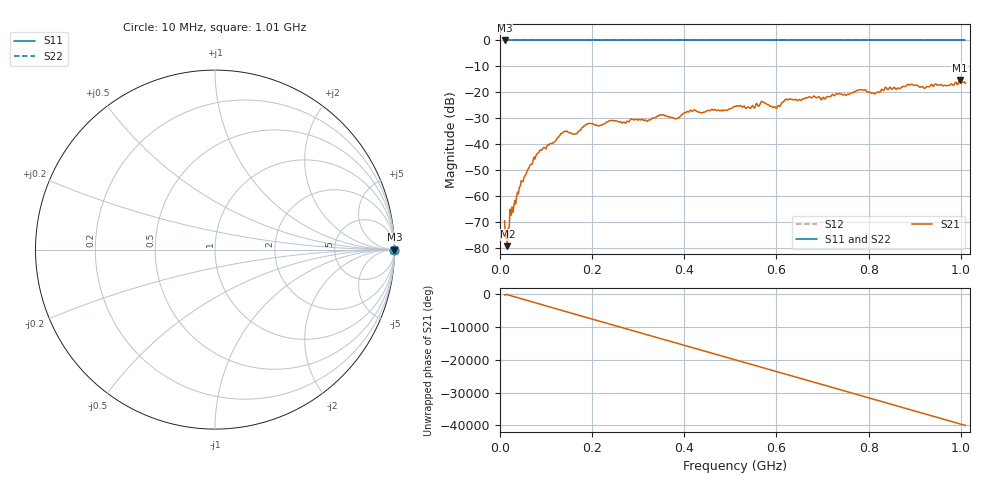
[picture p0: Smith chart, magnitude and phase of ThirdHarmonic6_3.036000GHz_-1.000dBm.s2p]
! 8/17/2025 8:46:49 AM
! C:\ANRITSUVNA\TEMP\TEMP.S2P
! CHANNEL.1
! TR.MEASUREMENT
! RAW.DATA
! RF.CORRECTION.OFF
! AVERAGING.OFF
! IF.BANDWIDTH: 5KHZ
! SWEEPTYPE:  FREQ.SWEEP(Linear)
! Reference Plane Port Info
! PORT:  PORT1  PORT2
! DISTANCE:  0  m  0  m
! TIME:  0  s  0  s
! PHASE.OFFSET:  0  deg.  0  deg.
! LOSS:  0  dB  0  dB
! REF.LOSS:  0  dB  0  dB
! REF.FREQ:  0  Hz  0  Hz
! Power Info
! POWER:  -20  dBm  -20  dBm
! EFF.POWER:  -20  dBm  -20  dBm
! SOURCE.ATTEN:  0  dB  0  dB
! TEST.ATTEN:  0  dB  0  dB
# GHZ S RI R 50.0
! FREQ.GHZ  S11RE  S11IM  S21RE  S21IM  S12RE  S12IM  S22RE  S22IM
!; PortSelection: Port_12
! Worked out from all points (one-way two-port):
!   501 points, 10 MHz to 1.01 GHz, reference 50 ohm
!   highest |S21| = -15.27 dB at 998 MHz (marker M1); lowest = -79.4 dB at 16 MHz (marker M2)
!   lowest |S11| = 0.0 dB at 10 MHz (marker M3)
!   |S11| at or under -10 dB: nowhere
!   |S22| runs from 0.0 to 0.0 dB; largest |S21 - S12| = 1.1
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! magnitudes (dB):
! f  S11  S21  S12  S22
! 10 MHz  0.0  -69.6  0.0  0.0
! 16 MHz  0.0  -79.4  0.0  0.0
! 26 MHz  0.0  -64.2  0.0  0.0
! 42 MHz  0.0  -56.7  0.0  0.0
! 78 MHz  0.0  -44.4  0.0  0.0
! 136 MHz  0.0  -35.7  0.0  0.0
! 162 MHz  0.0  -36.1  0.0  0.0
! 178 MHz  0.0  -33.6  0.0  0.0
! 194 MHz  0.0  -32.0  0.0  0.0
! 322 MHz  0.0  -30.8  0.0  0.0
! 344 MHz  0.0  -29.2  0.0  0.0
! 384 MHz  0.0  -30.0  0.0  0.0
! 410 MHz  0.0  -27.6  0.0  0.0
! 510 MHz  0.0  -25.5  0.0  0.0
! 548 MHz  0.0  -25.0  0.0  0.0
! 570 MHz  0.0  -23.6  0.0  0.0
! 596 MHz  0.0  -25.5  0.0  0.0
! 622 MHz  0.0  -22.6  0.0  0.0
! 678 MHz  0.0  -22.0  0.0  0.0
! 844 MHz  0.0  -18.6  0.0  0.0
! 998 MHz  0.0  -15.3  0.0  0.0
! 1.01 GHz  0.0  -16.5  0.0  0.0
